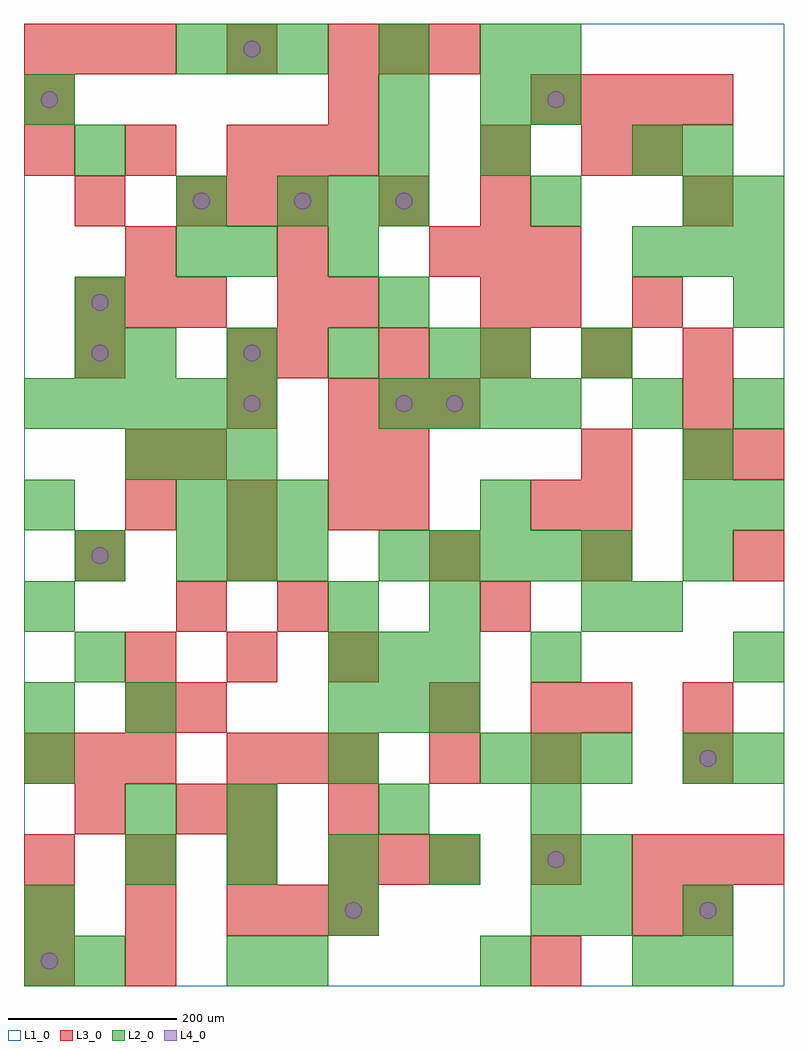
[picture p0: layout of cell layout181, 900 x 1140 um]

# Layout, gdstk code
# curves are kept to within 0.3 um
import gdstk
lib = gdstk.Library(unit=1e-6, precision=1e-09)
def R(c, l, rs):  # rectangles x0, y0, x1, y1
    for r in rs: c.add(gdstk.rectangle(r[:2], r[2:], *l))
def A(c, l, x, y, w, h, nx, ny, dx, dy):  # array of equal rectangles
    R(c, l, [(x+i*dx, y+j*dy, x+i*dx+w, y+j*dy+h) for i in range(nx) for j in range(ny)])
def P(c, l, *ps):  # polygons
    for p in ps: c.add(gdstk.Polygon(p, *l))
L1_0 = (1, 0)
L2_0 = (2, 0)
L3_0 = (3, 0)
L4_0 = (4, 0)

layout181 = lib.new_cell('layout181')
R(layout181, L1_0, [(0,0,900,1140)])
A(layout181, L2_0, 360, 60, 60, 60, 1, 3, 0, 180)
A(layout181, L2_0, 120, 120, 60, 60, 5, 1, 120, 0)
A(layout181, L2_0, 660, 120, 60, 60, 1, 3, 0, 300)
A(layout181, L2_0, 240, 180, 60, 60, 3, 1, 180, 0)
A(layout181, L2_0, 540, 240, 60, 60, 3, 1, 60, 0)
A(layout181, L2_0, 0, 300, 60, 60, 1, 3, 0, 120)
A(layout181, L2_0, 360, 300, 60, 60, 3, 2, 60, 60)
A(layout181, L2_0, 180, 480, 60, 60, 3, 2, 60, 60)
A(layout181, L2_0, 420, 480, 60, 60, 5, 1, 60, 0)
A(layout181, L2_0, 780, 480, 60, 60, 1, 3, 0, 60)
A(layout181, L2_0, 840, 540, 60, 60, 1, 4, 0, 120)
A(layout181, L2_0, 120, 600, 60, 60, 3, 1, 60, 0)
A(layout181, L2_0, 0, 660, 60, 60, 5, 1, 60, 0)
A(layout181, L2_0, 420, 660, 60, 60, 4, 1, 60, 0)
A(layout181, L2_0, 120, 720, 60, 60, 4, 1, 120, 0)
A(layout181, L2_0, 720, 840, 60, 60, 3, 1, 60, 0)
A(layout181, L2_0, 300, 900, 60, 60, 3, 1, 60, 0)
A(layout181, L2_0, 420, 960, 60, 60, 1, 3, 0, 60)
A(layout181, L2_0, 540, 960, 60, 60, 1, 3, 0, 60)
A(layout181, L2_0, 180, 1080, 60, 60, 3, 1, 60, 0)
R(layout181, L2_0, [(0,0,60,60), (60,0,120,60), (240,0,300,60), (300,0,360,60), (540,0,600,60), (720,0,780,60), (780,0,840,60), (0,60,60,120), (600,60,660,120), (660,60,720,120), (780,60,840,120), (120,180,180,240), (0,240,60,300), (780,240,840,300), (840,240,900,300), (120,300,180,360), (60,360,120,420), (600,360,660,420), (840,360,900,420), (480,420,540,480), (720,420,780,480), (60,480,120,540), (540,540,600,600), (720,660,780,720), (60,720,120,780), (540,720,600,780), (60,780,120,840), (420,780,480,840), (180,840,240,900), (240,840,300,900), (360,840,420,900), (180,900,240,960), (600,900,660,960), (780,900,840,960), (60,960,120,1020), (720,960,780,1020), (780,960,840,1020), (0,1020,60,1080), (600,1020,660,1080), (600,1080,660,1140)])
A(layout181, L3_0, 120, 0, 60, 60, 1, 3, 0, 300)
A(layout181, L3_0, 0, 60, 60, 60, 3, 2, 120, 900)
A(layout181, L3_0, 300, 60, 60, 60, 1, 3, 0, 360)
A(layout181, L3_0, 0, 120, 60, 60, 4, 1, 120, 0)
A(layout181, L3_0, 480, 120, 60, 60, 3, 1, 120, 0)
A(layout181, L3_0, 180, 180, 60, 60, 1, 3, 0, 120)
A(layout181, L3_0, 0, 240, 60, 60, 3, 2, 60, 840)
A(layout181, L3_0, 240, 240, 60, 60, 3, 1, 60, 0)
A(layout181, L3_0, 600, 300, 60, 60, 1, 3, 0, 240)
A(layout181, L3_0, 120, 360, 60, 60, 3, 2, 120, 180)
A(layout181, L3_0, 480, 480, 60, 60, 3, 1, 180, 0)
A(layout181, L3_0, 360, 600, 60, 60, 1, 3, 0, 180)
A(layout181, L3_0, 360, 660, 60, 60, 3, 2, 60, 420)
A(layout181, L3_0, 300, 720, 60, 60, 5, 1, 120, 0)
A(layout181, L3_0, 60, 780, 60, 60, 3, 1, 60, 0)
A(layout181, L3_0, 540, 780, 60, 60, 1, 4, 0, 60)
A(layout181, L3_0, 120, 840, 60, 60, 3, 1, 180, 0)
A(layout181, L3_0, 180, 900, 60, 60, 3, 1, 60, 0)
A(layout181, L3_0, 600, 1020, 60, 60, 4, 1, 60, 0)
R(layout181, L3_0, [(0,0,60,60), (600,0,660,60), (360,60,420,120), (720,60,780,120), (780,60,840,120), (420,120,480,180), (780,120,840,180), (840,120,900,180), (60,180,120,240), (240,180,300,240), (360,180,420,240), (480,240,540,300), (600,240,660,300), (780,240,840,300), (480,300,540,360), (660,300,720,360), (780,300,840,360), (540,420,600,480), (60,480,120,540), (240,480,300,540), (420,540,480,600), (660,540,720,600), (180,600,240,660), (420,600,480,660), (660,600,720,660), (780,600,840,660), (840,600,900,660), (240,660,300,720), (780,660,840,720), (60,720,120,780), (240,720,300,780), (720,780,780,840), (600,840,660,900), (60,900,120,960), (420,900,480,960), (780,900,840,960), (300,960,360,1020), (660,960,720,1020), (720,960,780,1020), (0,1020,60,1080), (360,1020,420,1080), (240,1080,300,1140)])
P(layout181, L4_0, [(40,30),(39.239,33.827),(37.071,37.071),(33.827,39.239),(30,40),(26.173,39.239),(22.929,37.071),(20.761,33.827),(20,30),(20.761,26.173),(22.929,22.929),(26.173,20.761),(30,20),(33.827,20.761),(37.071,22.929),(39.239,26.173)],
  [(40,1050),(39.239,1053.827),(37.071,1057.071),(33.827,1059.239),(30,1060),(26.173,1059.239),(22.929,1057.071),(20.761,1053.827),(20,1050),(20.761,1046.173),(22.929,1042.929),(26.173,1040.761),(30,1040),(33.827,1040.761),(37.071,1042.929),(39.239,1046.173)],
  [(100,510),(99.239,513.827),(97.071,517.071),(93.827,519.239),(90,520),(86.173,519.239),(82.929,517.071),(80.761,513.827),(80,510),(80.761,506.173),(82.929,502.929),(86.173,500.761),(90,500),(93.827,500.761),(97.071,502.929),(99.239,506.173)],
  [(100,750),(99.239,753.827),(97.071,757.071),(93.827,759.239),(90,760),(86.173,759.239),(82.929,757.071),(80.761,753.827),(80,750),(80.761,746.173),(82.929,742.929),(86.173,740.761),(90,740),(93.827,740.761),(97.071,742.929),(99.239,746.173)],
  [(100,810),(99.239,813.827),(97.071,817.071),(93.827,819.239),(90,820),(86.173,819.239),(82.929,817.071),(80.761,813.827),(80,810),(80.761,806.173),(82.929,802.929),(86.173,800.761),(90,800),(93.827,800.761),(97.071,802.929),(99.239,806.173)],
  [(220,930),(219.239,933.827),(217.071,937.071),(213.827,939.239),(210,940),(206.173,939.239),(202.929,937.071),(200.761,933.827),(200,930),(200.761,926.173),(202.929,922.929),(206.173,920.761),(210,920),(213.827,920.761),(217.071,922.929),(219.239,926.173)],
  [(280,690),(279.239,693.827),(277.071,697.071),(273.827,699.239),(270,700),(266.173,699.239),(262.929,697.071),(260.761,693.827),(260,690),(260.761,686.173),(262.929,682.929),(266.173,680.761),(270,680),(273.827,680.761),(277.071,682.929),(279.239,686.173)],
  [(280,750),(279.239,753.827),(277.071,757.071),(273.827,759.239),(270,760),(266.173,759.239),(262.929,757.071),(260.761,753.827),(260,750),(260.761,746.173),(262.929,742.929),(266.173,740.761),(270,740),(273.827,740.761),(277.071,742.929),(279.239,746.173)],
  [(280,1110),(279.239,1113.827),(277.071,1117.071),(273.827,1119.239),(270,1120),(266.173,1119.239),(262.929,1117.071),(260.761,1113.827),(260,1110),(260.761,1106.173),(262.929,1102.929),(266.173,1100.761),(270,1100),(273.827,1100.761),(277.071,1102.929),(279.239,1106.173)],
  [(340,930),(339.239,933.827),(337.071,937.071),(333.827,939.239),(330,940),(326.173,939.239),(322.929,937.071),(320.761,933.827),(320,930),(320.761,926.173),(322.929,922.929),(326.173,920.761),(330,920),(333.827,920.761),(337.071,922.929),(339.239,926.173)],
  [(400,90),(399.239,93.827),(397.071,97.071),(393.827,99.239),(390,100),(386.173,99.239),(382.929,97.071),(380.761,93.827),(380,90),(380.761,86.173),(382.929,82.929),(386.173,80.761),(390,80),(393.827,80.761),(397.071,82.929),(399.239,86.173)],
  [(460,690),(459.239,693.827),(457.071,697.071),(453.827,699.239),(450,700),(446.173,699.239),(442.929,697.071),(440.761,693.827),(440,690),(440.761,686.173),(442.929,682.929),(446.173,680.761),(450,680),(453.827,680.761),(457.071,682.929),(459.239,686.173)],
  [(460,930),(459.239,933.827),(457.071,937.071),(453.827,939.239),(450,940),(446.173,939.239),(442.929,937.071),(440.761,933.827),(440,930),(440.761,926.173),(442.929,922.929),(446.173,920.761),(450,920),(453.827,920.761),(457.071,922.929),(459.239,926.173)],
  [(520,690),(519.239,693.827),(517.071,697.071),(513.827,699.239),(510,700),(506.173,699.239),(502.929,697.071),(500.761,693.827),(500,690),(500.761,686.173),(502.929,682.929),(506.173,680.761),(510,680),(513.827,680.761),(517.071,682.929),(519.239,686.173)],
  [(640,150),(639.239,153.827),(637.071,157.071),(633.827,159.239),(630,160),(626.173,159.239),(622.929,157.071),(620.761,153.827),(620,150),(620.761,146.173),(622.929,142.929),(626.173,140.761),(630,140),(633.827,140.761),(637.071,142.929),(639.239,146.173)],
  [(640,1050),(639.239,1053.827),(637.071,1057.071),(633.827,1059.239),(630,1060),(626.173,1059.239),(622.929,1057.071),(620.761,1053.827),(620,1050),(620.761,1046.173),(622.929,1042.929),(626.173,1040.761),(630,1040),(633.827,1040.761),(637.071,1042.929),(639.239,1046.173)],
  [(820,90),(819.239,93.827),(817.071,97.071),(813.827,99.239),(810,100),(806.173,99.239),(802.929,97.071),(800.761,93.827),(800,90),(800.761,86.173),(802.929,82.929),(806.173,80.761),(810,80),(813.827,80.761),(817.071,82.929),(819.239,86.173)],
  [(820,270),(819.239,273.827),(817.071,277.071),(813.827,279.239),(810,280),(806.173,279.239),(802.929,277.071),(800.761,273.827),(800,270),(800.761,266.173),(802.929,262.929),(806.173,260.761),(810,260),(813.827,260.761),(817.071,262.929),(819.239,266.173)])

lib.write_gds('layout181.gds')
